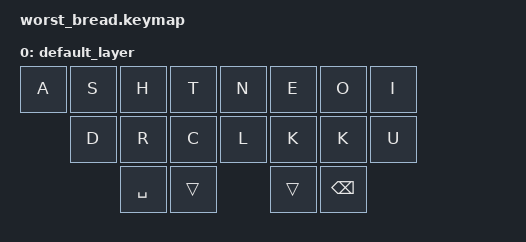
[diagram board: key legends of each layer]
/*
 * Copyright (c) 2020 The ZMK Contributors
 *
 * SPDX-License-Identifier: MIT
 */

#include <behaviors.dtsi>
#include <dt-bindings/zmk/keys.h>
#include <dt-bindings/zmk/bt.h>

/ {
        keymap {
                compatible = "zmk,keymap";

                default_layer {
// -----------------------------------------------------------------------------------------
// |  TAB |  Q  |  W  |  E  |  R  |  T  |   |  Y  |  U   |  I  |  O  |  P  | BKSP |
// | CTRL |  A  |  S  |  D  |  F  |  G  |   |  H  |  J   |  K  |  L  |  ;  |  '   |
// | SHFT |  Z  |  X  |  C  |  V  |  B  |   |  N  |  M   |  ,  |  .  |  /  | ESC  |
//                    | GUI | LWR | SPC |   | ENT | RSE  | ALT |
                        bindings = <
   &kp A   &kp S &kp H &kp T &kp N &kp E &kp O   &kp I
           &kp D &kp R &kp C &kp L &kp K &kp K   &kp U
                 &kp SPC   &trans   &trans  &kp BKSP
                        >;
                };
        };
};
